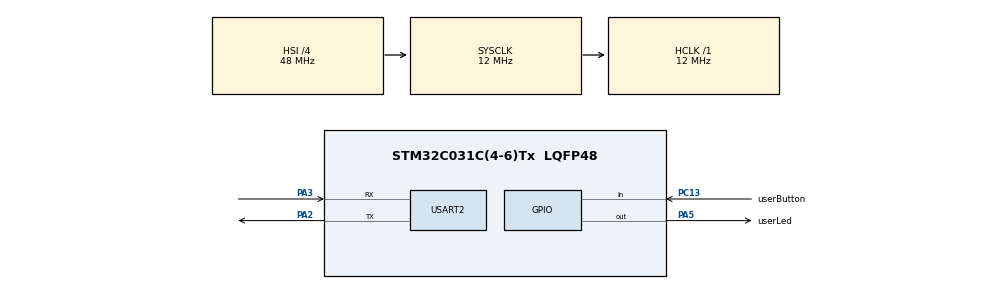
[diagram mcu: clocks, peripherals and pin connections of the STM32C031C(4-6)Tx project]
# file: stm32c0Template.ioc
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Mcu.Family=STM32C0
Mcu.Name=STM32C031C(4-6)Tx
Mcu.Package=LQFP48
PA13.Mode=Serial_Wire
PA13.Signal=DEBUG_SWDIO
PA14-BOOT0.Mode=Serial_Wire
PA14-BOOT0.Signal=DEBUG_SWCLK
PA2.Mode=Asynchronous
PA2.Signal=USART2_TX
PA3.Mode=Asynchronous
PA3.Signal=USART2_RX
PA5.GPIO_Label=userLed
PA5.Signal=GPIO_Output
PC13.GPIO_Label=userButton
PC13.Signal=GPIO_Input
ProjectManager.HeapSize=0x200
ProjectManager.StackSize=0x400
ProjectManager.TargetToolchain=Makefile
RCC.ADCFreq_Value=12000000
RCC.AHBFreq_Value=12000000
RCC.CortexFreq_Value=12000000
RCC.EXTERNAL_CLOCK_VALUE=12288000
RCC.HCLKFreq_Value=12000000
RCC.HSE_VALUE=8000000
RCC.HSI_VALUE=48000000
RCC.LSE_VALUE=32768
RCC.SYSCLKFreq_VALUE=12000000
USART2.VirtualMode-Asynchronous=VM_ASYNC
board=custom

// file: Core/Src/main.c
/* USER CODE BEGIN Header */
/**
  ******************************************************************************
  * @file           : main.c
  * @brief          : Main program body
  ******************************************************************************
  * @attention
  *
  * Copyright (c) 2026 STMicroelectronics.
  * All rights reserved.
  *
  * This software is licensed under terms that can be found in the LICENSE file
  * in the root directory of this software component.
  * If no LICENSE file comes with this software, it is provided AS-IS.
  *
  ******************************************************************************
  */
/* USER CODE END Header */
#include "main.h"
#include "stm32c0xx_hal_def.h"
#include "stm32c0xx_hal_gpio.h"
#include "stm32c0xx_hal_uart.h"
#include "usart.h"
#include "gpio.h"

/* USER CODE BEGIN Includes */

#include <stdio.h>

/* USER CODE END Includes */

void SystemClock_Config(void);

/* USER CODE BEGIN 0 */

int __io_putchar(int ch){
  if(ch == '\n'){
    uint8_t ch2 = '\r';
    HAL_UART_Transmit(&huart2, &ch2, 1, HAL_MAX_DELAY);
  }
  HAL_UART_Transmit(&huart2, (uint8_t*)&ch, 1, HAL_MAX_DELAY);
  return 0;
}

uint8_t userButtonPressed(){
  if(HAL_GPIO_ReadPin(userButton_GPIO_Port, userButton_Pin) == GPIO_PIN_RESET)
    return 1;
  else
    return 0;
}

/* USER CODE END 0 */

int main(void)
{

  /* MCU Configuration--------------------------------------------------------*/

  /* Reset of all peripherals, Initializes the Flash interface and the Systick. */
  HAL_Init();

  /* Configure the system clock */
  SystemClock_Config();

  /* Initialize all configured peripherals */
  MX_GPIO_Init();
  MX_USART2_UART_Init();

  /* Infinite loop */
  /* USER CODE BEGIN WHILE */
  while (1)
  {
    HAL_GPIO_TogglePin(userLed_GPIO_Port, userLed_Pin);

    if(userButtonPressed())
      printf("Button Pressed!\n");
    else
      printf("Hello World!\n");

    HAL_Delay(500);
    /* USER CODE END WHILE */

  }
}

void SystemClock_Config(void)
{
  RCC_OscInitTypeDef RCC_OscInitStruct = {0};
  RCC_ClkInitTypeDef RCC_ClkInitStruct = {0};

  __HAL_FLASH_SET_LATENCY(FLASH_LATENCY_0);

  /** Initializes the RCC Oscillators according to the specified parameters
  * in the RCC_OscInitTypeDef structure.
  */
  RCC_OscInitStruct.OscillatorType = RCC_OSCILLATORTYPE_HSI;
  RCC_OscInitStruct.HSIState = RCC_HSI_ON;
  RCC_OscInitStruct.HSIDiv = RCC_HSI_DIV4;
  RCC_OscInitStruct.HSICalibrationValue = RCC_HSICALIBRATION_DEFAULT;
  if (HAL_RCC_OscConfig(&RCC_OscInitStruct) != HAL_OK)
  {
    Error_Handler();
  }

  /** Initializes the CPU, AHB and APB buses clocks
  */
  RCC_ClkInitStruct.ClockType = RCC_CLOCKTYPE_HCLK|RCC_CLOCKTYPE_SYSCLK
                              |RCC_CLOCKTYPE_PCLK1;
  RCC_ClkInitStruct.SYSCLKSource = RCC_SYSCLKSOURCE_HSI;
  RCC_ClkInitStruct.SYSCLKDivider = RCC_SYSCLK_DIV1;
  RCC_ClkInitStruct.AHBCLKDivider = RCC_HCLK_DIV1;
  RCC_ClkInitStruct.APB1CLKDivider = RCC_APB1_DIV1;

  if (HAL_RCC_ClockConfig(&RCC_ClkInitStruct, FLASH_LATENCY_0) != HAL_OK)
  {
    Error_Handler();
  }
}

void Error_Handler(void)
{
  __disable_irq();
  while (1)
  {
  }
}
